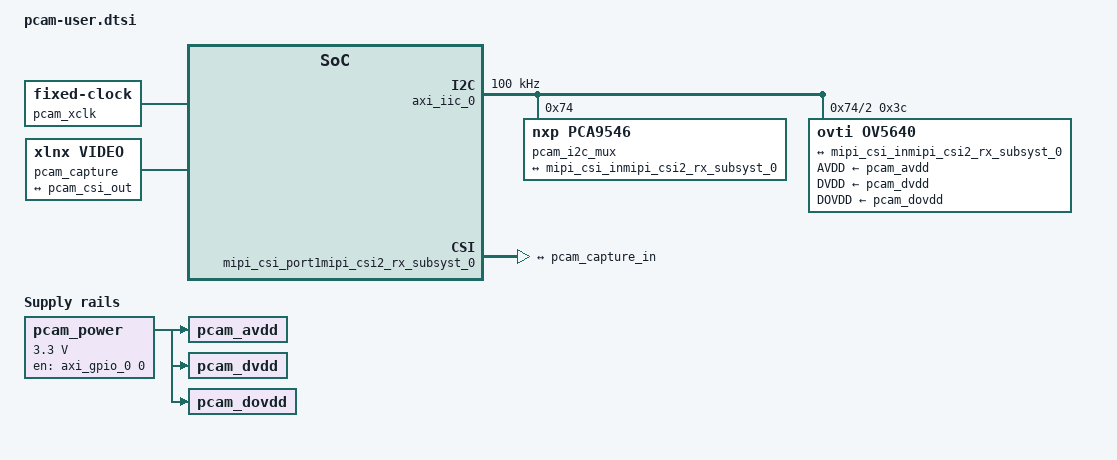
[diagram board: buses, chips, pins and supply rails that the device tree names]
/*
 * KV260 PCAM 5C: OV5640 -> CSI-2 RX (YUV422 8-bit) -> AXI VDMA S2MM.
 * Included after the generated pl.dtso; this is not a separate runtime overlay.
 * The PL must already implement YUV422_8bit, one pixel/clock and two lanes.
 * cam_gpio_tri_o[0] must be wired directly to the module's active-high PWUP.
 */
#include <dt-bindings/gpio/gpio.h>

&amba {
    #address-cells = <2>;
    #size-cells = <2>;

    pcam_xclk: camera-clock {
        compatible = "fixed-clock";
        #clock-cells = <0>;
        clock-frequency = <12000000>;
    };

    /*
     * PCAM has onboard supplies and a 12 MHz oscillator. Keep PWUP asserted
     * while the overlay is loaded, rather than using the sensor driver's
     * shorter PWDN pulse for a module power cycle. Allow 50 ms before SCCB.
     */
    pcam_power: regulator-pcam-power {
        compatible = "regulator-fixed";
        regulator-name = "pcam-module-power";
        regulator-min-microvolt = <3300000>;
        regulator-max-microvolt = <3300000>;
        gpio = <&axi_gpio_0 0 GPIO_ACTIVE_HIGH>;
        enable-active-high;
        startup-delay-us = <50000>;
        off-on-delay-us = <100000>;
        regulator-always-on;
    };

    /* Internal module rails; their voltages are fixed by the module hardware. */
    pcam_avdd: regulator-pcam-avdd {
        compatible = "regulator-fixed";
        regulator-name = "pcam-avdd";
        vin-supply = <&pcam_power>;
        regulator-always-on;
    };

    pcam_dvdd: regulator-pcam-dvdd {
        compatible = "regulator-fixed";
        regulator-name = "pcam-dvdd";
        vin-supply = <&pcam_power>;
        regulator-always-on;
    };

    pcam_dovdd: regulator-pcam-dovdd {
        compatible = "regulator-fixed";
        regulator-name = "pcam-dovdd";
        vin-supply = <&pcam_power>;
        regulator-always-on;
    };

    pcam_capture: video-capture {
        compatible = "xlnx,video";
        dmas = <&axi_vdma_0 1>;
        dma-names = "port0";

        ports {
            #address-cells = <1>;
            #size-cells = <0>;

            port@0 {
                reg = <0>;
                direction = "input";

                pcam_capture_in: endpoint {
                    remote-endpoint = <&pcam_csi_out>;
                };
            };
        };
    };
};

&axi_iic_0 {
    #address-cells = <1>;
    #size-cells = <0>;
    clock-frequency = <100000>;

    /* KV260 carrier routes the Raspi connector through switch channel 2. */
    pcam_i2c_mux: i2c-mux@74 {
        compatible = "nxp,pca9546";
        reg = <0x74>;
        #address-cells = <1>;
        #size-cells = <0>;
        i2c-mux-idle-disconnect;

        pcam_i2c: i2c@2 {
            reg = <2>;
            #address-cells = <1>;
            #size-cells = <0>;

            ov5640: camera@3c {
                compatible = "ovti,ov5640";
                reg = <0x3c>;
                clocks = <&pcam_xclk>;
                clock-names = "xclk";
                AVDD-supply = <&pcam_avdd>;
                DVDD-supply = <&pcam_dvdd>;
                DOVDD-supply = <&pcam_dovdd>;

                port {
                    ov5640_out: endpoint {
                        remote-endpoint = <&mipi_csi_inmipi_csi2_rx_subsyst_0>;
                        clock-lanes = <0>;
                        data-lanes = <1 2>;
                    };
                };
            };
        };
    };
};

&mipi_csi2_rx_subsyst_0 {
    xlnx,csi-pxl-format = <0x1e>;
    xlnx,cmn-pxl-format = <0x1e>;
};

&mipi_csi_port0mipi_csi2_rx_subsyst_0 {
    xlnx,video-format = <0>;
    xlnx,video-width = <8>;
    /delete-property/ xlnx,cfa-pattern;
};

&mipi_csi_inmipi_csi2_rx_subsyst_0 {
    remote-endpoint = <&ov5640_out>;
    clock-lanes = <0>;
    data-lanes = <1 2>;
};

&mipi_csi_port1mipi_csi2_rx_subsyst_0 {
    xlnx,video-format = <0>;
    xlnx,video-width = <8>;
    /delete-property/ xlnx,cfa-pattern;

    pcam_csi_out: endpoint {
        remote-endpoint = <&pcam_capture_in>;
    };
};
